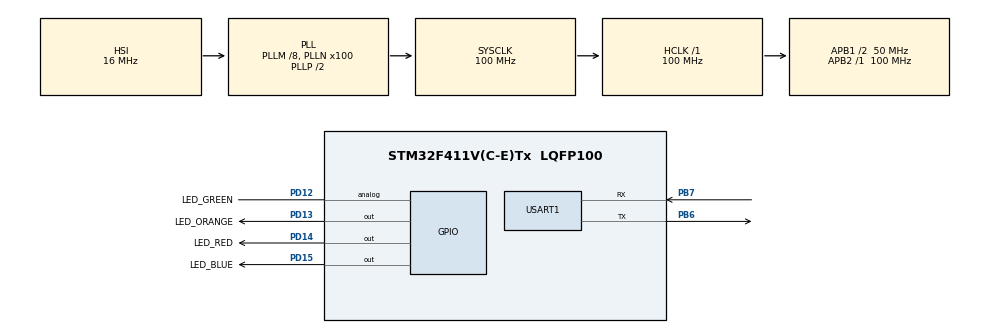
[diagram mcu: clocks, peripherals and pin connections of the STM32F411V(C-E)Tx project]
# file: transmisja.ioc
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Mcu.Family=STM32F4
Mcu.Name=STM32F411V(C-E)Tx
Mcu.Package=LQFP100
NVIC.PriorityGroup=NVIC_PRIORITYGROUP_4
NVIC.TIM1_UP_TIM10_IRQn=true\:0\:0\:false\:false\:true
NVIC.USART1_IRQn=true\:0\:0\:false\:false\:true
PB6.Mode=Asynchronous
PB6.Signal=USART1_TX
PB7.Mode=Asynchronous
PB7.Signal=USART1_RX
PD12.GPIO_Label=LED_GREEN
PD12.Signal=GPIO_Analog
PD13.GPIO_Label=LED_ORANGE
PD13.Signal=GPIO_Output
PD14.GPIO_Label=LED_RED
PD14.Signal=GPIO_Output
PD15.GPIO_Label=LED_BLUE
PD15.Signal=GPIO_Output
ProjectManager.HeapSize=0x200
ProjectManager.StackSize=0x400
ProjectManager.TargetToolchain=SW4STM32
RCC.48MHZClocksFreq_Value=50000000
RCC.AHBCLKDivider=RCC_SYSCLK_DIV1
RCC.AHBFreq_Value=100000000
RCC.APB1CLKDivider=RCC_HCLK_DIV2
RCC.APB1Freq_Value=50000000
RCC.APB1TimFreq_Value=100000000
RCC.APB2CLKDivider=RCC_HCLK_DIV1
RCC.APB2Freq_Value=100000000
RCC.APB2TimFreq_Value=100000000
RCC.ClockTypeHCLK=RCC_CLOCKTYPE_HCLK
RCC.ClockTypePCLK1=RCC_CLOCKTYPE_PCLK1
RCC.ClockTypePCLK2=RCC_CLOCKTYPE_PCLK2
RCC.ClockTypeSysClk=RCC_CLOCKTYPE_SYSCLK
RCC.CortexFreq_Value=100000000
RCC.Cortex_Div=SYSTICK_CLKSOURCE_HCLK
RCC.EnableExtClockForI2S=false
RCC.EnableHSE=false
RCC.EnableHSERTCDevisor=false
RCC.EnableLSE=false
RCC.EnableLSERTC=false
RCC.ExtClockEnable=false
RCC.HCLKFreq_Value=100000000
RCC.HSEState=RCC_HSE_OFF
RCC.HSE_VALUE=0.0000000000080
RCC.HSIState=RCC_HSI_ON
RCC.HSI_VALUE=16000000
RCC.I2SEnable=false
RCC.IWDGEnable=false
RCC.LSE_VALUE=32768
RCC.LSIState=RCC_LSI_OFF
RCC.MCO1OutPutEnable=false
RCC.MCO2OutPutEnable=false
RCC.OscillatorTypeHSI=RCC_OSCILLATORTYPE_HSI
RCC.PLLM=8
RCC.PLLN=100
RCC.PLLP=RCC_PLLP_DIV2
RCC.PLLSource=RCC_PLLSOURCE_HSI
RCC.PLLSourceVirtual=RCC_PLLSOURCE_HSI
RCC.PLLState=RCC_PLL_ON
RCC.RCC_MCODiv1=RCC_MCODIV_1
RCC.RCC_MCODiv2=RCC_MCODIV_1
RCC.RCC_RTC_Clock_Source_FROM_HSE=RCC_RTCCLKSOURCE_HSE_DIV2
RCC.RNGEnable=false
RCC.RTCEnable=false
RCC.SDIOEnable=false
RCC.SYSCLKFreq_VALUE=100000000
RCC.SYSCLKSource=RCC_SYSCLKSOURCE_PLLCLK
RCC.USBFSEnable=false
RCC.USBHSEnable=false
RCC.VCOOutputFreq_Value=200000000
TIM10.Period=9999
TIM10.Prescaler=9999
USART1.HwFlowCtl-Asynchronous=UART_HWCONTROL_NONE
USART1.VirtualMode=VM_ASYNC
VP_TIM10_VS_ClockSourceINT.Mode=Enable_Timer
board=transmisja

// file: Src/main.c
/**
  ******************************************************************************
  * File Name          : main.c
  * Description        : Main program body
  ******************************************************************************
  *
  * COPYRIGHT(c) 2017 STMicroelectronics
  *
  * Redistribution and use in source and binary forms, with or without modification,
  * are permitted provided that the following conditions are met:
  *   1. Redistributions of source code must retain the above copyright notice,
  *      this list of conditions and the following disclaimer.
  *   2. Redistributions in binary form must reproduce the above copyright notice,
  *      this list of conditions and the following disclaimer in the documentation
  *      and/or other materials provided with the distribution.
  *   3. Neither the name of STMicroelectronics nor the names of its contributors
  *      may be used to endorse or promote products derived from this software
  *      without specific prior written permission.
  *
  * THIS SOFTWARE IS PROVIDED BY THE COPYRIGHT HOLDERS AND CONTRIBUTORS "AS IS"
  * AND ANY EXPRESS OR IMPLIED WARRANTIES, INCLUDING, BUT NOT LIMITED TO, THE
  * IMPLIED WARRANTIES OF MERCHANTABILITY AND FITNESS FOR A PARTICULAR PURPOSE ARE
  * DISCLAIMED. IN NO EVENT SHALL THE COPYRIGHT HOLDER OR CONTRIBUTORS BE LIABLE
  * FOR ANY DIRECT, INDIRECT, INCIDENTAL, SPECIAL, EXEMPLARY, OR CONSEQUENTIAL
  * DAMAGES (INCLUDING, BUT NOT LIMITED TO, PROCUREMENT OF SUBSTITUTE GOODS OR
  * SERVICES; LOSS OF USE, DATA, OR PROFITS; OR BUSINESS INTERRUPTION) HOWEVER
  * CAUSED AND ON ANY THEORY OF LIABILITY, WHETHER IN CONTRACT, STRICT LIABILITY,
  * OR TORT (INCLUDING NEGLIGENCE OR OTHERWISE) ARISING IN ANY WAY OUT OF THE USE
  * OF THIS SOFTWARE, EVEN IF ADVISED OF THE POSSIBILITY OF SUCH DAMAGE.
  *
  ******************************************************************************
  */
#include "main.h"
#include "stm32f4xx_hal.h"

TIM_HandleTypeDef htim10;

UART_HandleTypeDef huart1;

/* USER CODE BEGIN PV */
/* Private variables ---------------------------------------------------------*/
uint8_t Received;	// odebrane dane
uint8_t Data[100];	// ilosc danych do wyslania
volatile uint16_t size;	// wielkosc danych do wyslania
/* USER CODE END PV */

void SystemClock_Config(void);
void Error_Handler(void);
static void MX_GPIO_Init(void);
static void MX_USART1_UART_Init(void);
static void MX_TIM10_Init(void);

/* USER CODE BEGIN PFP */
/* Private function prototypes -----------------------------------------------*/
void HAL_TIM_PeriodElapsedCallback(TIM_HandleTypeDef *htim);
void HAL_UART_RxCpltCallback(UART_HandleTypeDef *huart);
/* USER CODE END PFP */

int main(void)
{

  /* MCU Configuration----------------------------------------------------------*/

  /* Reset of all peripherals, Initializes the Flash interface and the Systick. */
  HAL_Init();

  /* Configure the system clock */
  SystemClock_Config();

  /* Initialize all configured peripherals */
  MX_GPIO_Init();
  MX_USART1_UART_Init();
  MX_TIM10_Init();

  /* USER CODE BEGIN 2 */
  HAL_TIM_Base_Start_IT(&htim10);
  HAL_UART_Receive_IT(&huart1, &Received, 1);
  /* USER CODE END 2 */

  /* Infinite loop */
  while (1)
  {

  }

}

/** System Clock Configuration
*/
void SystemClock_Config(void)
{

  RCC_OscInitTypeDef RCC_OscInitStruct;
  RCC_ClkInitTypeDef RCC_ClkInitStruct;

    /**Configure the main internal regulator output voltage
    */
  __HAL_RCC_PWR_CLK_ENABLE();

  __HAL_PWR_VOLTAGESCALING_CONFIG(PWR_REGULATOR_VOLTAGE_SCALE1);

    /**Initializes the CPU, AHB and APB busses clocks
    */
  RCC_OscInitStruct.OscillatorType = RCC_OSCILLATORTYPE_HSI;
  RCC_OscInitStruct.HSIState = RCC_HSI_ON;
  RCC_OscInitStruct.HSICalibrationValue = 16;
  RCC_OscInitStruct.PLL.PLLState = RCC_PLL_ON;
  RCC_OscInitStruct.PLL.PLLSource = RCC_PLLSOURCE_HSI;
  RCC_OscInitStruct.PLL.PLLM = 8;
  RCC_OscInitStruct.PLL.PLLN = 100;
  RCC_OscInitStruct.PLL.PLLP = RCC_PLLP_DIV2;
  RCC_OscInitStruct.PLL.PLLQ = 4;
  if (HAL_RCC_OscConfig(&RCC_OscInitStruct) != HAL_OK)
  {
    Error_Handler();
  }

    /**Initializes the CPU, AHB and APB busses clocks
    */
  RCC_ClkInitStruct.ClockType = RCC_CLOCKTYPE_HCLK|RCC_CLOCKTYPE_SYSCLK
                              |RCC_CLOCKTYPE_PCLK1|RCC_CLOCKTYPE_PCLK2;
  RCC_ClkInitStruct.SYSCLKSource = RCC_SYSCLKSOURCE_PLLCLK;
  RCC_ClkInitStruct.AHBCLKDivider = RCC_SYSCLK_DIV1;
  RCC_ClkInitStruct.APB1CLKDivider = RCC_HCLK_DIV2;
  RCC_ClkInitStruct.APB2CLKDivider = RCC_HCLK_DIV1;

  if (HAL_RCC_ClockConfig(&RCC_ClkInitStruct, FLASH_LATENCY_3) != HAL_OK)
  {
    Error_Handler();
  }

    /**Configure the Systick interrupt time
    */
  HAL_SYSTICK_Config(HAL_RCC_GetHCLKFreq()/1000);

    /**Configure the Systick
    */
  HAL_SYSTICK_CLKSourceConfig(SYSTICK_CLKSOURCE_HCLK);

  /* SysTick_IRQn interrupt configuration */
  HAL_NVIC_SetPriority(SysTick_IRQn, 0, 0);
}

/* TIM10 init function */
static void MX_TIM10_Init(void)
{

  htim10.Instance = TIM10;
  htim10.Init.Prescaler = 9999;
  htim10.Init.CounterMode = TIM_COUNTERMODE_UP;
  htim10.Init.Period = 9999;
  htim10.Init.ClockDivision = TIM_CLOCKDIVISION_DIV1;
  if (HAL_TIM_Base_Init(&htim10) != HAL_OK)
  {
    Error_Handler();
  }

}

/* USART1 init function */
static void MX_USART1_UART_Init(void)
{

  huart1.Instance = USART1;
  huart1.Init.BaudRate = 115200;
  huart1.Init.WordLength = UART_WORDLENGTH_8B;
  huart1.Init.StopBits = UART_STOPBITS_1;
  huart1.Init.Parity = UART_PARITY_NONE;
  huart1.Init.Mode = UART_MODE_TX_RX;
  huart1.Init.HwFlowCtl = UART_HWCONTROL_NONE;
  huart1.Init.OverSampling = UART_OVERSAMPLING_16;
  if (HAL_UART_Init(&huart1) != HAL_OK)
  {
    Error_Handler();
  }

}

/** Configure pins as
        * Analog
        * Input
        * Output
        * EVENT_OUT
        * EXTI
*/
static void MX_GPIO_Init(void)
{

  GPIO_InitTypeDef GPIO_InitStruct;

  /* GPIO Ports Clock Enable */
  __HAL_RCC_GPIOD_CLK_ENABLE();
  __HAL_RCC_GPIOB_CLK_ENABLE();

  /*Configure GPIO pin Output Level */
  HAL_GPIO_WritePin(GPIOD, LED_ORANGE_Pin|LED_RED_Pin|LED_BLUE_Pin, GPIO_PIN_RESET);

  /*Configure GPIO pin : LED_GREEN_Pin */
  GPIO_InitStruct.Pin = LED_GREEN_Pin;
  GPIO_InitStruct.Mode = GPIO_MODE_ANALOG;
  GPIO_InitStruct.Pull = GPIO_NOPULL;
  HAL_GPIO_Init(LED_GREEN_GPIO_Port, &GPIO_InitStruct);

  /*Configure GPIO pins : LED_ORANGE_Pin LED_RED_Pin LED_BLUE_Pin */
  GPIO_InitStruct.Pin = LED_ORANGE_Pin|LED_RED_Pin|LED_BLUE_Pin;
  GPIO_InitStruct.Mode = GPIO_MODE_OUTPUT_PP;
  GPIO_InitStruct.Pull = GPIO_NOPULL;
  GPIO_InitStruct.Speed = GPIO_SPEED_FREQ_LOW;
  HAL_GPIO_Init(GPIOD, &GPIO_InitStruct);

}

/* USER CODE BEGIN 4 */
void HAL_TIM_PeriodElapsedCallback(TIM_HandleTypeDef *htim) {

 uint8_t data[50];// Tablica przechowujaca wysylana wiadomosc.
 uint16_t size; // Rozmiar wysylanej wiadomosci ++cnt; // Zwiekszenie licznika wyslanych wiadomosci.
 int T[8]={2000,2000,2000,4000,4000,2000,2000,2000},LEWY=300,PRAWY=300,prog=2800;

 // Zwiekszenie licznika wyslanych wiadomosci.
 size = sprintf(Data,"%d:%d:%d:%d:%d:%d:%d:%d:%d:%d:%d!",T[0],T[1],T[2],T[3],T[4],T[5],T[6],T[7],LEWY,PRAWY,prog);
 HAL_UART_Transmit_IT(&huart1, Data, size);
 HAL_GPIO_TogglePin(LED_BLUE_GPIO_Port, LED_BLUE_Pin); // Zmiana stanu pinu na diodzie LED
}
void HAL_UART_RxCpltCallback(UART_HandleTypeDef *huart) {
	switch (atoi(&Received)) {
		case 0:
	 		HAL_GPIO_WritePin(LED_BLUE_GPIO_Port,LED_BLUE_Pin,RESET);
	 		HAL_GPIO_WritePin(LED_RED_GPIO_Port,LED_RED_Pin,RESET);
	 		HAL_GPIO_WritePin(LED_ORANGE_GPIO_Port,LED_ORANGE_Pin,RESET);
	 		HAL_GPIO_WritePin(LED_GREEN_GPIO_Port,LED_GREEN_Pin,RESET);
	 	 	break;
	 	case 2:
	 		HAL_GPIO_WritePin(LED_GREEN_GPIO_Port,LED_GREEN_Pin,SET);
	 	 	break;
	 	case 3:
	 		HAL_GPIO_WritePin(LED_RED_GPIO_Port,LED_RED_Pin,SET);
	 	 	break;
	 	case 1:
	 		HAL_GPIO_WritePin(LED_BLUE_GPIO_Port,LED_BLUE_Pin,SET);
	 		HAL_GPIO_WritePin(LED_RED_GPIO_Port,LED_RED_Pin,SET);
	 		HAL_GPIO_WritePin(LED_ORANGE_GPIO_Port,LED_ORANGE_Pin,SET);
	 		HAL_GPIO_WritePin(LED_GREEN_GPIO_Port,LED_GREEN_Pin,SET);
	 	 	break;
	 	default: // Jezeli odebrano nieobslugiwany znak
	 	 	break;
		}
	HAL_UART_Receive_IT(&huart1, &Received, 1); // Ponowne w³¹czenie nas³uchiwania
}
/* USER CODE END 4 */

void Error_Handler(void)
{
  while(1)
  {
  }
}

/************************ (C) COPYRIGHT STMicroelectronics *****END OF FILE****/
